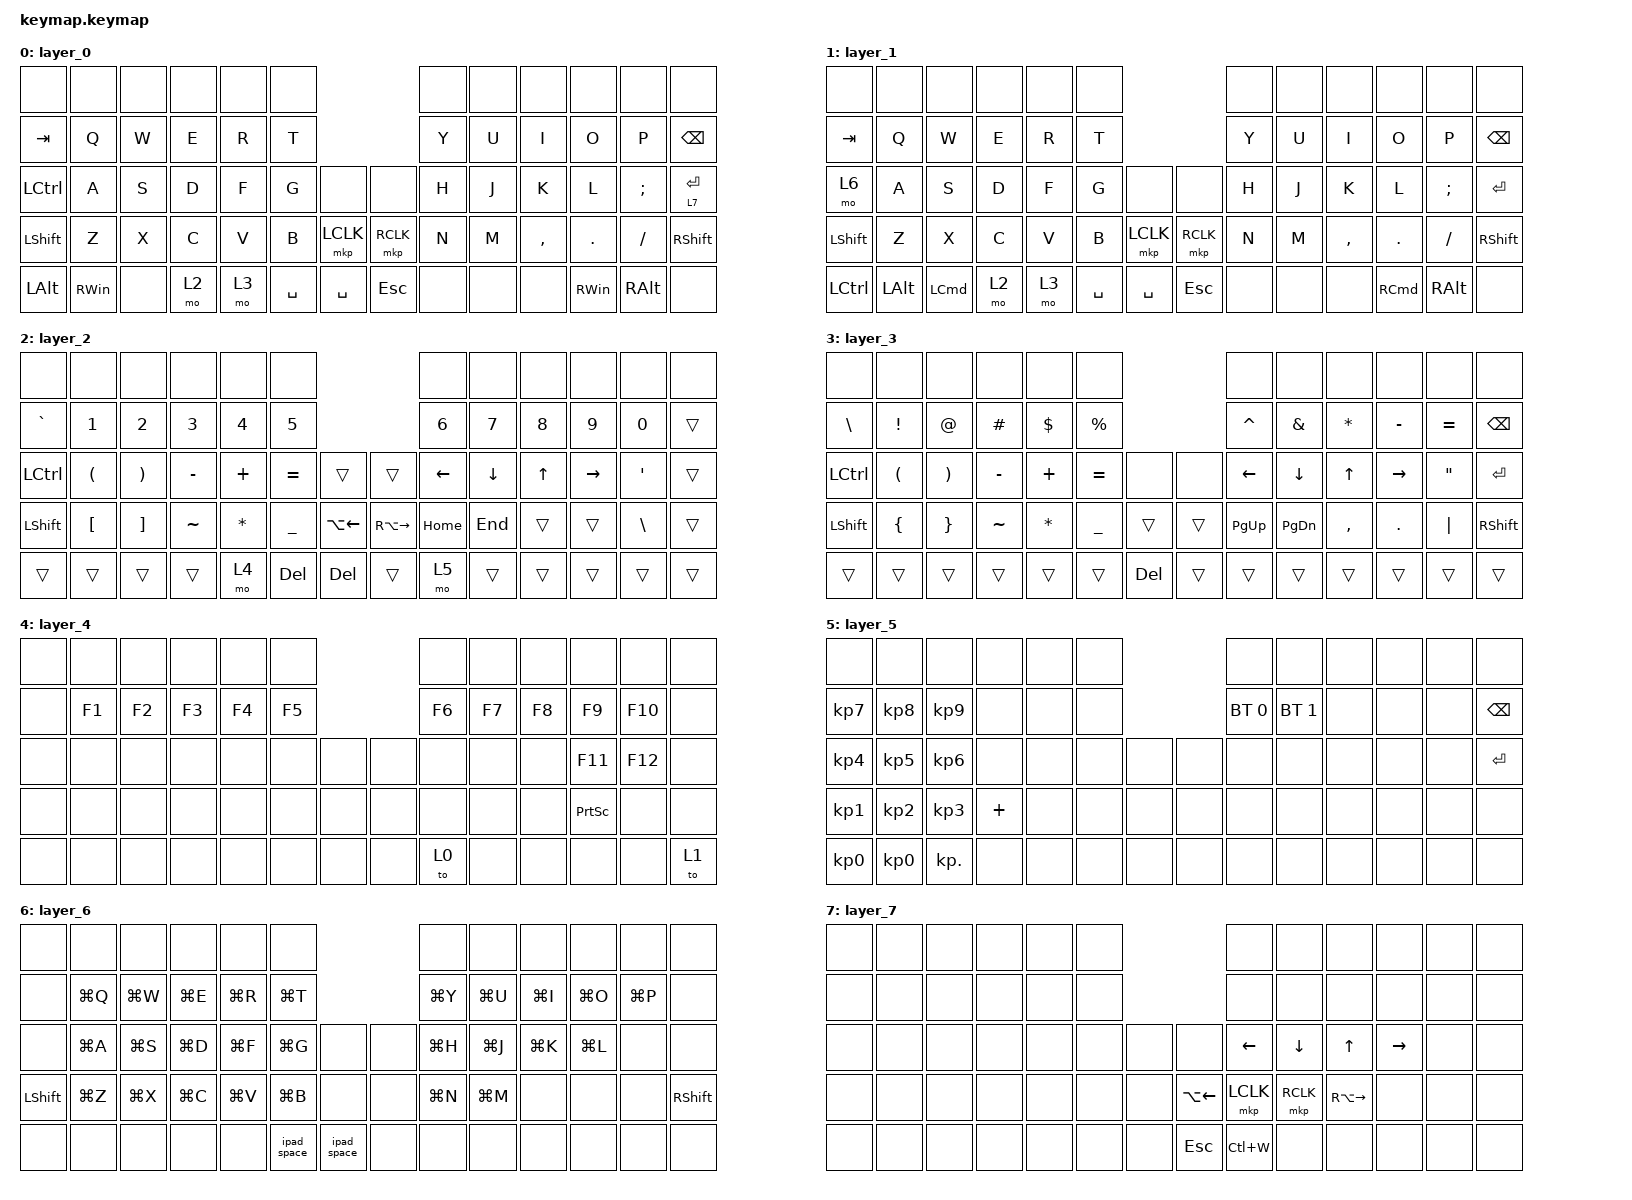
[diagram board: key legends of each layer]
#include <dt-bindings/zmk/input_transform.h>
#include <input/processors.dtsi>
#include <behaviors.dtsi>
#include <dt-bindings/zmk/bt.h>
#include <dt-bindings/zmk/keys.h>
#include <dt-bindings/zmk/pointing.h>

/ {
    combos {
        compatible = "zmk,combos";

        bt_clear {
            bindings = <&bt BT_CLR>;
            key-positions = <28 29>;
            layers = <5>;
        };
    };

    macros {
        ipad_space: ipad_space {
            compatible = "zmk,behavior-macro";
            #binding-cells = <0>;
            bindings = <&kp LC(SPACE)>;
            label = "IPAD_SPACE";
        };
    };

    keymap {
        compatible = "zmk,keymap";

        layer_0 {
            bindings = <
&none      &none     &none  &none  &none  &none                             &none  &none  &none      &none     &none          &none
&kp TAB    &kp Q     &kp W  &kp E  &kp R  &kp T                             &kp Y  &kp U  &kp I      &kp O     &kp P          &kp BACKSPACE
&kp LCTRL  &kp A     &kp S  &kp D  &kp F  &kp G      &none      &none       &kp H  &kp J  &kp K      &kp L     &kp SEMICOLON  &lt 7 ENTER
&kp LSHFT  &kp Z     &kp X  &kp C  &kp V  &kp B      &mkp LCLK  &mkp RCLK   &kp N  &kp M  &kp COMMA  &kp DOT   &kp FSLH       &kp RIGHT_SHIFT
&kp LALT   &kp RWIN  &none  &mo 2  &mo 3  &kp SPACE  &kp SPACE  &kp ESCAPE  &none  &none  &none      &kp RWIN  &kp RIGHT_ALT  &none
            >;
        };

        layer_1 {
            bindings = <
&none             &none     &none             &none  &none  &none                            &none  &none  &none      &none              &none          &none
&kp TAB           &kp Q     &kp W             &kp E  &kp R  &kp T                            &kp Y  &kp U  &kp I      &kp O              &kp P          &kp BACKSPACE
&mo 6             &kp A     &kp S             &kp D  &kp F  &kp G      &none      &none      &kp H  &kp J  &kp K      &kp L              &kp SEMICOLON  &kp ENTER
&kp LSHFT         &kp Z     &kp X             &kp C  &kp V  &kp B      &mkp LCLK  &mkp RCLK  &kp N  &kp M  &kp COMMA  &kp PERIOD         &kp SLASH      &kp RSHFT
&kp LEFT_CONTROL  &kp LALT  &kp LEFT_COMMAND  &mo 2  &mo 3  &kp SPACE  &kp SPACE  &kp ESC    &none  &none  &none      &kp RIGHT_COMMAND  &kp RALT       &none
            >;
        };

        layer_2 {
            bindings = <
&none             &none                 &none                  &none      &none         &none                                              &none     &none     &none   &none      &none          &none
&kp GRAVE         &kp N1                &kp N2                 &kp N3     &kp N4        &kp N5                                             &kp N6    &kp N7    &kp N8  &kp N9     &kp N0         &trans
&kp LEFT_CONTROL  &kp LEFT_PARENTHESIS  &kp RIGHT_PARENTHESIS  &kp MINUS  &kp PLUS      &kp EQUAL       &trans              &trans         &kp LEFT  &kp DOWN  &kp UP  &kp RIGHT  &kp SQT        &trans
&kp LSHFT         &kp LEFT_BRACKET      &kp RIGHT_BRACKET      &kp TILDE  &kp ASTERISK  &kp UNDERSCORE  &kp LA(LEFT_ARROW)  &kp RA(RIGHT)  &kp HOME  &kp END   &trans  &trans     &kp BACKSLASH  &trans
&trans            &trans                &trans                 &trans     &mo 4         &kp DEL         &kp DEL             &trans         &mo 5     &trans    &trans  &trans     &trans         &trans
            >;
        };

        layer_3 {
            bindings = <
&none          &none                 &none                  &none      &none         &none                            &none           &none           &none         &none       &none              &none
&kp BACKSLASH  &kp EXCLAMATION       &kp AT_SIGN            &kp HASH   &kp DOLLAR    &kp PERCENT                      &kp CARET       &kp AMPERSAND   &kp ASTERISK  &kp MINUS   &kp EQUAL          &kp BACKSPACE
&kp LCTRL      &kp LEFT_PARENTHESIS  &kp RIGHT_PARENTHESIS  &kp MINUS  &kp PLUS      &kp EQUAL       &none    &none   &kp LEFT_ARROW  &kp DOWN_ARROW  &kp UP_ARROW  &kp RIGHT   &kp DOUBLE_QUOTES  &kp ENTER
&kp LSHFT      &kp LEFT_BRACE        &kp RIGHT_BRACE        &kp TILDE  &kp ASTERISK  &kp UNDERSCORE  &trans   &trans  &kp PAGE_UP     &kp PAGE_DOWN   &kp COMMA     &kp PERIOD  &kp PIPE           &kp RSHFT
&trans         &trans                &trans                 &trans     &trans        &trans          &kp DEL  &trans  &trans          &trans          &trans        &trans      &trans             &trans
            >;
        };

        layer_4 {
            bindings = <
&none  &none   &none   &none   &none   &none                 &none   &none   &none   &none            &none    &none
&none  &kp F1  &kp F2  &kp F3  &kp F4  &kp F5                &kp F6  &kp F7  &kp F8  &kp F9           &kp F10  &none
&none  &none   &none   &none   &none   &none   &none  &none  &none   &none   &none   &kp F11          &kp F12  &none
&none  &none   &none   &none   &none   &none   &none  &none  &none   &none   &none   &kp PRINTSCREEN  &none    &none
&none  &none   &none   &none   &none   &none   &none  &none  &to 0   &none   &none   &none            &none    &to 1
            >;
        };

        layer_5 {
            bindings = <
&none            &none            &none            &none     &none  &none                &none         &none         &none  &none  &none  &none
&kp KP_NUMBER_7  &kp KP_NUMBER_8  &kp KP_NUMBER_9  &none     &none  &none                &bt BT_SEL 0  &bt BT_SEL 1  &none  &none  &none  &kp BACKSPACE
&kp KP_NUMBER_4  &kp KP_NUMBER_5  &kp KP_NUMBER_6  &none     &none  &none  &none  &none  &none         &none         &none  &none  &none  &kp ENTER
&kp KP_NUMBER_1  &kp KP_NUMBER_2  &kp KP_NUMBER_3  &kp PLUS  &none  &none  &none  &none  &none         &none         &none  &none  &none  &none
&kp KP_NUMBER_0  &kp KP_NUMBER_0  &kp KP_DOT       &none     &none  &none  &none  &none  &none         &none         &none  &none  &none  &none
            >;
        };

        layer_6 {
            bindings = <
&none      &none      &none      &none      &none      &none                            &none      &none      &none      &none      &none      &none
&none      &kp LG(Q)  &kp LG(W)  &kp LG(E)  &kp LG(R)  &kp LG(T)                        &kp LG(Y)  &kp LG(U)  &kp LG(I)  &kp LG(O)  &kp LG(P)  &none
&none      &kp LG(A)  &kp LG(S)  &kp LG(D)  &kp LG(F)  &kp LG(G)    &none        &none  &kp LG(H)  &kp LG(J)  &kp LG(K)  &kp LG(L)  &none      &none
&kp LSHFT  &kp LG(Z)  &kp LG(X)  &kp LG(C)  &kp LG(V)  &kp LG(B)    &none        &none  &kp LG(N)  &kp LG(M)  &none      &none      &none      &kp RSHFT
&none      &none      &none      &none      &none      &ipad_space  &ipad_space  &none  &none      &none      &none      &none      &none      &none
            >;
        };

        layer_7 {
            bindings = <
&none  &none  &none  &none  &none  &none                             &none           &none           &none          &none      &none  &none
&none  &none  &none  &none  &none  &none                             &none           &none           &none          &none      &none  &none
&none  &none  &none  &none  &none  &none  &none  &none               &kp LEFT_ARROW  &kp DOWN_ARROW  &kp UP_ARROW   &kp RIGHT  &none  &none
&none  &none  &none  &none  &none  &none  &none  &kp LA(LEFT_ARROW)  &mkp LCLK       &mkp RCLK       &kp RA(RIGHT)  &none      &none  &none
&none  &none  &none  &none  &none  &none  &none  &kp ESC             &kp LC(W)       &none           &none          &none      &none  &none
            >;
        };
    };
};

&trackball_listener {
    scroll_mode {
        layers = <2 3 7>;
        input-processors = <
            &zip_xy_transform INPUT_TRANSFORM_X_INVERT
            &zip_xy_scaler 1 32
            &zip_xy_to_scroll_mapper
        >;
    };
};
